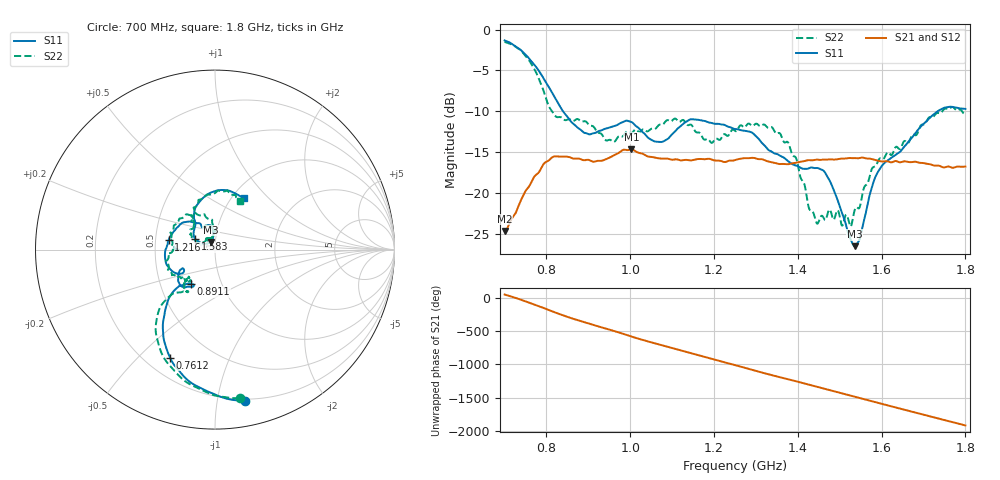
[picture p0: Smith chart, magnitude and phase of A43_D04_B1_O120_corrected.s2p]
! Created with skrf 1.9.0 (http://scikit-rf.org).
# Hz S RI R 50.0
!freq ReS11 ImS11 ReS21 ImS21 ReS12 ImS12 ReS22 ImS22
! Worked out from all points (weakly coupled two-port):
!   1601 points, 700 MHz to 1.8 GHz, reference 50 ohm
!   highest |S21| = -14.65 dB at 1.002 GHz (marker M1); lowest = -24.6 dB at 700 MHz (marker M2)
!   lowest |S11| = -26.5 dB at 1.535 GHz (marker M3), VSWR 1.10, Z = 47.6 + j3.99 ohm
!   |S11| at or under -10 dB: 839.6 MHz to 1.733 GHz (893.6 MHz wide, 69.5 % of centre)
!   |S22| runs from -24.1 to -1.5 dB; largest |S21 - S12| = 0.0034
!   S11 on the Smith chart (normalised r, x): 700 MHz: 0.19, -1.20; 761.2 MHz: 0.30, -0.63; 891.1 MHz: 0.71, -0.29; 1.216 GHz: 0.59, +0.07; 1.583 GHz: 0.80, +0.09; 1.8 GHz: 1.13, +0.73
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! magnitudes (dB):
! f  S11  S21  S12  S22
! 700 MHz  -1.3  -24.6  -24.4  -1.5
! 761.2 MHz  -3.7  -18.9  -18.8  -4.0
! 819.6 MHz  -8.2  -15.5  -15.6  -10.5
! 883.6 MHz  -12.3  -15.9  -15.8  -11.2
! 891.1 MHz  -12.6  -16.0  -16.0  -11.2
! 944.1 MHz  -12.1  -15.8  -15.8  -13.6
! 1.002 GHz  -11.3  -14.7  -14.8  -12.7
! 1.067 GHz  -13.7  -15.7  -15.7  -11.7
! 1.143 GHz  -11.0  -16.0  -16.0  -11.6
! 1.216 GHz  -11.6  -16.1  -16.1  -13.4
! 1.25 GHz  -12.1  -16.0  -15.9  -12.4
! 1.357 GHz  -15.4  -16.4  -16.4  -12.7
! 1.396 GHz  -16.6  -16.3  -16.3  -15.7
! 1.434 GHz  -16.9  -16.0  -15.9  -22.1
! 1.447 GHz  -16.9  -15.9  -15.9  -23.7
! 1.473 GHz  -18.2  -15.9  -15.9  -22.2
! 1.526 GHz  -25.6  -15.7  -15.7  -24.1
! 1.535 GHz  -26.5  -15.7  -15.7  -22.1
! 1.583 GHz  -18.2  -15.9  -15.9  -16.8
! 1.617 GHz  -15.9  -16.2  -16.1  -15.1
! 1.733 GHz  -10.0  -16.6  -16.7  -10.2
! 1.8 GHz  -9.7  -16.7  -16.7  -10.3
